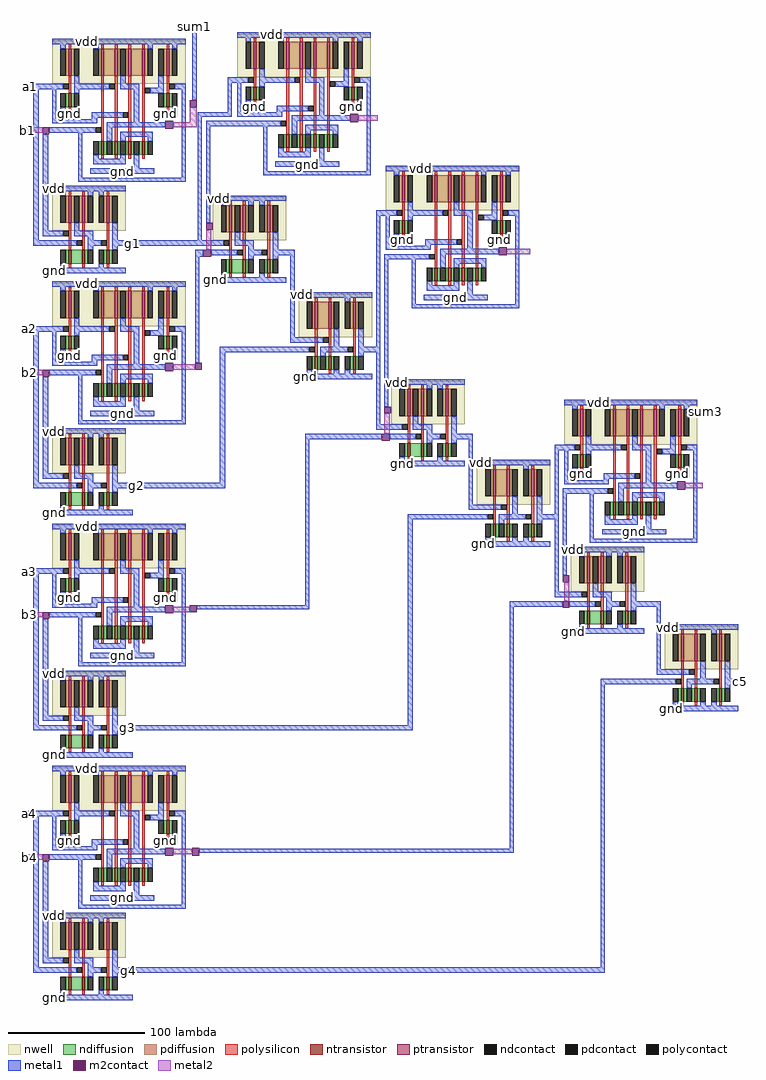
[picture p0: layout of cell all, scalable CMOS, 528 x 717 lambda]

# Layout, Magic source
magic
tech scmos
<< nwell >>
rect -341 292 -243 324
rect -205 297 -107 329
rect -341 184 -287 216
rect -223 177 -169 209
rect -96 199 2 231
rect -341 114 -243 146
rect -160 106 -106 138
rect -92 42 -38 74
rect -341 6 -287 38
rect 35 27 133 59
rect -29 -17 25 15
rect -341 -64 -243 -32
rect 40 -81 94 -49
rect 109 -138 163 -106
rect -341 -172 -287 -140
rect -341 -242 -243 -210
rect -341 -350 -287 -318
<< ntransistor >>
rect -329 275 -327 285
rect -257 275 -255 285
rect -193 280 -191 290
rect -121 280 -119 290
rect -305 240 -303 250
rect -295 240 -293 250
rect -285 240 -283 250
rect -275 240 -273 250
rect -169 245 -167 255
rect -159 245 -157 255
rect -149 245 -147 255
rect -139 245 -137 255
rect -329 160 -327 170
rect -319 160 -317 170
rect -301 160 -299 170
rect -84 182 -82 192
rect -211 153 -209 163
rect -201 153 -199 163
rect -183 153 -181 163
rect -12 182 -10 192
rect -60 147 -58 157
rect -50 147 -48 157
rect -40 147 -38 157
rect -30 147 -28 157
rect -329 97 -327 107
rect -257 97 -255 107
rect -148 82 -146 92
rect -138 82 -136 92
rect -120 82 -118 92
rect -305 62 -303 72
rect -295 62 -293 72
rect -285 62 -283 72
rect -275 62 -273 72
rect -80 18 -78 28
rect -70 18 -68 28
rect -52 18 -50 28
rect 47 10 49 20
rect -329 -18 -327 -8
rect -319 -18 -317 -8
rect -301 -18 -299 -8
rect 119 10 121 20
rect 71 -25 73 -15
rect 81 -25 83 -15
rect 91 -25 93 -15
rect 101 -25 103 -15
rect -17 -41 -15 -31
rect -7 -41 -5 -31
rect 11 -41 13 -31
rect -329 -81 -327 -71
rect -257 -81 -255 -71
rect 52 -105 54 -95
rect 62 -105 64 -95
rect 80 -105 82 -95
rect -305 -116 -303 -106
rect -295 -116 -293 -106
rect -285 -116 -283 -106
rect -275 -116 -273 -106
rect 121 -162 123 -152
rect 131 -162 133 -152
rect 149 -162 151 -152
rect -329 -196 -327 -186
rect -319 -196 -317 -186
rect -301 -196 -299 -186
rect -329 -259 -327 -249
rect -257 -259 -255 -249
rect -305 -294 -303 -284
rect -295 -294 -293 -284
rect -285 -294 -283 -284
rect -275 -294 -273 -284
rect -329 -374 -327 -364
rect -319 -374 -317 -364
rect -301 -374 -299 -364
<< ptransistor >>
rect -329 298 -327 318
rect -305 298 -303 318
rect -295 298 -293 318
rect -285 298 -283 318
rect -275 298 -273 318
rect -257 298 -255 318
rect -193 303 -191 323
rect -169 303 -167 323
rect -159 303 -157 323
rect -149 303 -147 323
rect -139 303 -137 323
rect -121 303 -119 323
rect -329 190 -327 210
rect -319 190 -317 210
rect -301 190 -299 210
rect -84 205 -82 225
rect -60 205 -58 225
rect -50 205 -48 225
rect -40 205 -38 225
rect -30 205 -28 225
rect -12 205 -10 225
rect -211 183 -209 203
rect -201 183 -199 203
rect -183 183 -181 203
rect -329 120 -327 140
rect -305 120 -303 140
rect -295 120 -293 140
rect -285 120 -283 140
rect -275 120 -273 140
rect -257 120 -255 140
rect -148 112 -146 132
rect -138 112 -136 132
rect -120 112 -118 132
rect -80 48 -78 68
rect -70 48 -68 68
rect -52 48 -50 68
rect -329 12 -327 32
rect -319 12 -317 32
rect -301 12 -299 32
rect 47 33 49 53
rect 71 33 73 53
rect 81 33 83 53
rect 91 33 93 53
rect 101 33 103 53
rect 119 33 121 53
rect -17 -11 -15 9
rect -7 -11 -5 9
rect 11 -11 13 9
rect -329 -58 -327 -38
rect -305 -58 -303 -38
rect -295 -58 -293 -38
rect -285 -58 -283 -38
rect -275 -58 -273 -38
rect -257 -58 -255 -38
rect 52 -75 54 -55
rect 62 -75 64 -55
rect 80 -75 82 -55
rect 121 -132 123 -112
rect 131 -132 133 -112
rect 149 -132 151 -112
rect -329 -166 -327 -146
rect -319 -166 -317 -146
rect -301 -166 -299 -146
rect -329 -236 -327 -216
rect -305 -236 -303 -216
rect -295 -236 -293 -216
rect -285 -236 -283 -216
rect -275 -236 -273 -216
rect -257 -236 -255 -216
rect -329 -344 -327 -324
rect -319 -344 -317 -324
rect -301 -344 -299 -324
<< ndiffusion >>
rect -331 275 -329 285
rect -327 275 -325 285
rect -259 275 -257 285
rect -255 275 -253 285
rect -195 280 -193 290
rect -191 280 -189 290
rect -123 280 -121 290
rect -119 280 -117 290
rect -307 240 -305 250
rect -303 240 -301 250
rect -297 240 -295 250
rect -293 240 -291 250
rect -287 240 -285 250
rect -283 240 -281 250
rect -277 240 -275 250
rect -273 240 -271 250
rect -171 245 -169 255
rect -167 245 -165 255
rect -161 245 -159 255
rect -157 245 -155 255
rect -151 245 -149 255
rect -147 245 -145 255
rect -141 245 -139 255
rect -137 245 -135 255
rect -331 160 -329 170
rect -327 160 -319 170
rect -317 160 -315 170
rect -303 160 -301 170
rect -299 160 -297 170
rect -86 182 -84 192
rect -82 182 -80 192
rect -213 153 -211 163
rect -209 153 -201 163
rect -199 153 -197 163
rect -185 153 -183 163
rect -181 153 -179 163
rect -14 182 -12 192
rect -10 182 -8 192
rect -62 147 -60 157
rect -58 147 -56 157
rect -52 147 -50 157
rect -48 147 -46 157
rect -42 147 -40 157
rect -38 147 -36 157
rect -32 147 -30 157
rect -28 147 -26 157
rect -331 97 -329 107
rect -327 97 -325 107
rect -259 97 -257 107
rect -255 97 -253 107
rect -150 82 -148 92
rect -146 82 -144 92
rect -140 82 -138 92
rect -136 82 -134 92
rect -122 82 -120 92
rect -118 82 -116 92
rect -307 62 -305 72
rect -303 62 -301 72
rect -297 62 -295 72
rect -293 62 -291 72
rect -287 62 -285 72
rect -283 62 -281 72
rect -277 62 -275 72
rect -273 62 -271 72
rect -82 18 -80 28
rect -78 18 -70 28
rect -68 18 -66 28
rect -54 18 -52 28
rect -50 18 -48 28
rect 45 10 47 20
rect 49 10 51 20
rect -331 -18 -329 -8
rect -327 -18 -319 -8
rect -317 -18 -315 -8
rect -303 -18 -301 -8
rect -299 -18 -297 -8
rect 117 10 119 20
rect 121 10 123 20
rect 69 -25 71 -15
rect 73 -25 75 -15
rect 79 -25 81 -15
rect 83 -25 85 -15
rect 89 -25 91 -15
rect 93 -25 95 -15
rect 99 -25 101 -15
rect 103 -25 105 -15
rect -19 -41 -17 -31
rect -15 -41 -13 -31
rect -9 -41 -7 -31
rect -5 -41 -3 -31
rect 9 -41 11 -31
rect 13 -41 15 -31
rect -331 -81 -329 -71
rect -327 -81 -325 -71
rect -259 -81 -257 -71
rect -255 -81 -253 -71
rect 50 -105 52 -95
rect 54 -105 62 -95
rect 64 -105 66 -95
rect 78 -105 80 -95
rect 82 -105 84 -95
rect -307 -116 -305 -106
rect -303 -116 -301 -106
rect -297 -116 -295 -106
rect -293 -116 -291 -106
rect -287 -116 -285 -106
rect -283 -116 -281 -106
rect -277 -116 -275 -106
rect -273 -116 -271 -106
rect 119 -162 121 -152
rect 123 -162 125 -152
rect 129 -162 131 -152
rect 133 -162 135 -152
rect 147 -162 149 -152
rect 151 -162 153 -152
rect -331 -196 -329 -186
rect -327 -196 -319 -186
rect -317 -196 -315 -186
rect -303 -196 -301 -186
rect -299 -196 -297 -186
rect -331 -259 -329 -249
rect -327 -259 -325 -249
rect -259 -259 -257 -249
rect -255 -259 -253 -249
rect -307 -294 -305 -284
rect -303 -294 -301 -284
rect -297 -294 -295 -284
rect -293 -294 -291 -284
rect -287 -294 -285 -284
rect -283 -294 -281 -284
rect -277 -294 -275 -284
rect -273 -294 -271 -284
rect -331 -374 -329 -364
rect -327 -374 -319 -364
rect -317 -374 -315 -364
rect -303 -374 -301 -364
rect -299 -374 -297 -364
<< pdiffusion >>
rect -331 298 -329 318
rect -327 298 -325 318
rect -307 298 -305 318
rect -303 298 -295 318
rect -293 298 -291 318
rect -287 298 -285 318
rect -283 298 -275 318
rect -273 298 -271 318
rect -259 298 -257 318
rect -255 298 -253 318
rect -195 303 -193 323
rect -191 303 -189 323
rect -171 303 -169 323
rect -167 303 -159 323
rect -157 303 -155 323
rect -151 303 -149 323
rect -147 303 -139 323
rect -137 303 -135 323
rect -123 303 -121 323
rect -119 303 -117 323
rect -331 190 -329 210
rect -327 190 -325 210
rect -321 190 -319 210
rect -317 190 -315 210
rect -303 190 -301 210
rect -299 190 -297 210
rect -86 205 -84 225
rect -82 205 -80 225
rect -62 205 -60 225
rect -58 205 -50 225
rect -48 205 -46 225
rect -42 205 -40 225
rect -38 205 -30 225
rect -28 205 -26 225
rect -14 205 -12 225
rect -10 205 -8 225
rect -213 183 -211 203
rect -209 183 -207 203
rect -203 183 -201 203
rect -199 183 -197 203
rect -185 183 -183 203
rect -181 183 -179 203
rect -331 120 -329 140
rect -327 120 -325 140
rect -307 120 -305 140
rect -303 120 -295 140
rect -293 120 -291 140
rect -287 120 -285 140
rect -283 120 -275 140
rect -273 120 -271 140
rect -259 120 -257 140
rect -255 120 -253 140
rect -150 112 -148 132
rect -146 112 -138 132
rect -136 112 -134 132
rect -122 112 -120 132
rect -118 112 -116 132
rect -82 48 -80 68
rect -78 48 -76 68
rect -72 48 -70 68
rect -68 48 -66 68
rect -54 48 -52 68
rect -50 48 -48 68
rect -331 12 -329 32
rect -327 12 -325 32
rect -321 12 -319 32
rect -317 12 -315 32
rect -303 12 -301 32
rect -299 12 -297 32
rect 45 33 47 53
rect 49 33 51 53
rect 69 33 71 53
rect 73 33 81 53
rect 83 33 85 53
rect 89 33 91 53
rect 93 33 101 53
rect 103 33 105 53
rect 117 33 119 53
rect 121 33 123 53
rect -19 -11 -17 9
rect -15 -11 -7 9
rect -5 -11 -3 9
rect 9 -11 11 9
rect 13 -11 15 9
rect -331 -58 -329 -38
rect -327 -58 -325 -38
rect -307 -58 -305 -38
rect -303 -58 -295 -38
rect -293 -58 -291 -38
rect -287 -58 -285 -38
rect -283 -58 -275 -38
rect -273 -58 -271 -38
rect -259 -58 -257 -38
rect -255 -58 -253 -38
rect 50 -75 52 -55
rect 54 -75 56 -55
rect 60 -75 62 -55
rect 64 -75 66 -55
rect 78 -75 80 -55
rect 82 -75 84 -55
rect 119 -132 121 -112
rect 123 -132 131 -112
rect 133 -132 135 -112
rect 147 -132 149 -112
rect 151 -132 153 -112
rect -331 -166 -329 -146
rect -327 -166 -325 -146
rect -321 -166 -319 -146
rect -317 -166 -315 -146
rect -303 -166 -301 -146
rect -299 -166 -297 -146
rect -331 -236 -329 -216
rect -327 -236 -325 -216
rect -307 -236 -305 -216
rect -303 -236 -295 -216
rect -293 -236 -291 -216
rect -287 -236 -285 -216
rect -283 -236 -275 -216
rect -273 -236 -271 -216
rect -259 -236 -257 -216
rect -255 -236 -253 -216
rect -331 -344 -329 -324
rect -327 -344 -325 -324
rect -321 -344 -319 -324
rect -317 -344 -315 -324
rect -303 -344 -301 -324
rect -299 -344 -297 -324
<< ndcontact >>
rect -335 275 -331 285
rect -325 275 -321 285
rect -263 275 -259 285
rect -253 275 -249 285
rect -199 280 -195 290
rect -189 280 -185 290
rect -127 280 -123 290
rect -117 280 -113 290
rect -311 240 -307 250
rect -301 240 -297 250
rect -291 240 -287 250
rect -281 240 -277 250
rect -271 240 -267 250
rect -175 245 -171 255
rect -165 245 -161 255
rect -155 245 -151 255
rect -145 245 -141 255
rect -135 245 -131 255
rect -335 160 -331 170
rect -315 160 -311 170
rect -307 160 -303 170
rect -297 160 -293 170
rect -90 182 -86 192
rect -80 182 -76 192
rect -217 153 -213 163
rect -197 153 -193 163
rect -189 153 -185 163
rect -179 153 -175 163
rect -18 182 -14 192
rect -8 182 -4 192
rect -66 147 -62 157
rect -56 147 -52 157
rect -46 147 -42 157
rect -36 147 -32 157
rect -26 147 -22 157
rect -335 97 -331 107
rect -325 97 -321 107
rect -263 97 -259 107
rect -253 97 -249 107
rect -154 82 -150 92
rect -144 82 -140 92
rect -134 82 -130 92
rect -126 82 -122 92
rect -116 82 -112 92
rect -311 62 -307 72
rect -301 62 -297 72
rect -291 62 -287 72
rect -281 62 -277 72
rect -271 62 -267 72
rect -86 18 -82 28
rect -66 18 -62 28
rect -58 18 -54 28
rect -48 18 -44 28
rect 41 10 45 20
rect 51 10 55 20
rect -335 -18 -331 -8
rect -315 -18 -311 -8
rect -307 -18 -303 -8
rect -297 -18 -293 -8
rect 113 10 117 20
rect 123 10 127 20
rect 65 -25 69 -15
rect 75 -25 79 -15
rect 85 -25 89 -15
rect 95 -25 99 -15
rect 105 -25 109 -15
rect -23 -41 -19 -31
rect -13 -41 -9 -31
rect -3 -41 1 -31
rect 5 -41 9 -31
rect 15 -41 19 -31
rect -335 -81 -331 -71
rect -325 -81 -321 -71
rect -263 -81 -259 -71
rect -253 -81 -249 -71
rect 46 -105 50 -95
rect 66 -105 70 -95
rect 74 -105 78 -95
rect 84 -105 88 -95
rect -311 -116 -307 -106
rect -301 -116 -297 -106
rect -291 -116 -287 -106
rect -281 -116 -277 -106
rect -271 -116 -267 -106
rect 115 -162 119 -152
rect 125 -162 129 -152
rect 135 -162 139 -152
rect 143 -162 147 -152
rect 153 -162 157 -152
rect -335 -196 -331 -186
rect -315 -196 -311 -186
rect -307 -196 -303 -186
rect -297 -196 -293 -186
rect -335 -259 -331 -249
rect -325 -259 -321 -249
rect -263 -259 -259 -249
rect -253 -259 -249 -249
rect -311 -294 -307 -284
rect -301 -294 -297 -284
rect -291 -294 -287 -284
rect -281 -294 -277 -284
rect -271 -294 -267 -284
rect -335 -374 -331 -364
rect -315 -374 -311 -364
rect -307 -374 -303 -364
rect -297 -374 -293 -364
<< pdcontact >>
rect -335 298 -331 318
rect -325 298 -321 318
rect -311 298 -307 318
rect -291 298 -287 318
rect -271 298 -267 318
rect -263 298 -259 318
rect -253 298 -249 318
rect -199 303 -195 323
rect -189 303 -185 323
rect -175 303 -171 323
rect -155 303 -151 323
rect -135 303 -131 323
rect -127 303 -123 323
rect -117 303 -113 323
rect -335 190 -331 210
rect -325 190 -321 210
rect -315 190 -311 210
rect -307 190 -303 210
rect -297 190 -293 210
rect -90 205 -86 225
rect -80 205 -76 225
rect -66 205 -62 225
rect -46 205 -42 225
rect -26 205 -22 225
rect -18 205 -14 225
rect -8 205 -4 225
rect -217 183 -213 203
rect -207 183 -203 203
rect -197 183 -193 203
rect -189 183 -185 203
rect -179 183 -175 203
rect -335 120 -331 140
rect -325 120 -321 140
rect -311 120 -307 140
rect -291 120 -287 140
rect -271 120 -267 140
rect -263 120 -259 140
rect -253 120 -249 140
rect -154 112 -150 132
rect -134 112 -130 132
rect -126 112 -122 132
rect -116 112 -112 132
rect -86 48 -82 68
rect -76 48 -72 68
rect -66 48 -62 68
rect -58 48 -54 68
rect -48 48 -44 68
rect -335 12 -331 32
rect -325 12 -321 32
rect -315 12 -311 32
rect -307 12 -303 32
rect -297 12 -293 32
rect 41 33 45 53
rect 51 33 55 53
rect 65 33 69 53
rect 85 33 89 53
rect 105 33 109 53
rect 113 33 117 53
rect 123 33 127 53
rect -23 -11 -19 9
rect -3 -11 1 9
rect 5 -11 9 9
rect 15 -11 19 9
rect -335 -58 -331 -38
rect -325 -58 -321 -38
rect -311 -58 -307 -38
rect -291 -58 -287 -38
rect -271 -58 -267 -38
rect -263 -58 -259 -38
rect -253 -58 -249 -38
rect 46 -75 50 -55
rect 56 -75 60 -55
rect 66 -75 70 -55
rect 74 -75 78 -55
rect 84 -75 88 -55
rect 115 -132 119 -112
rect 135 -132 139 -112
rect 143 -132 147 -112
rect 153 -132 157 -112
rect -335 -166 -331 -146
rect -325 -166 -321 -146
rect -315 -166 -311 -146
rect -307 -166 -303 -146
rect -297 -166 -293 -146
rect -335 -236 -331 -216
rect -325 -236 -321 -216
rect -311 -236 -307 -216
rect -291 -236 -287 -216
rect -271 -236 -267 -216
rect -263 -236 -259 -216
rect -253 -236 -249 -216
rect -335 -344 -331 -324
rect -325 -344 -321 -324
rect -315 -344 -311 -324
rect -307 -344 -303 -324
rect -297 -344 -293 -324
<< polysilicon >>
rect -193 323 -191 326
rect -169 323 -167 326
rect -159 323 -157 326
rect -149 323 -147 326
rect -139 323 -137 326
rect -121 323 -119 326
rect -329 318 -327 321
rect -305 318 -303 321
rect -295 318 -293 321
rect -285 318 -283 321
rect -275 318 -273 321
rect -257 318 -255 321
rect -329 285 -327 298
rect -329 272 -327 275
rect -305 250 -303 298
rect -295 250 -293 298
rect -285 250 -283 298
rect -275 250 -273 298
rect -257 285 -255 298
rect -193 290 -191 303
rect -193 277 -191 280
rect -257 272 -255 275
rect -169 255 -167 303
rect -159 255 -157 303
rect -149 255 -147 303
rect -139 255 -137 303
rect -121 290 -119 303
rect -121 277 -119 280
rect -169 242 -167 245
rect -159 242 -157 245
rect -149 242 -147 245
rect -139 242 -137 245
rect -305 237 -303 240
rect -295 237 -293 240
rect -285 237 -283 240
rect -275 237 -273 240
rect -84 225 -82 228
rect -60 225 -58 228
rect -50 225 -48 228
rect -40 225 -38 228
rect -30 225 -28 228
rect -12 225 -10 228
rect -329 210 -327 213
rect -319 210 -317 213
rect -301 210 -299 213
rect -211 203 -209 206
rect -201 203 -199 206
rect -183 203 -181 206
rect -329 170 -327 190
rect -319 170 -317 190
rect -301 170 -299 190
rect -84 192 -82 205
rect -211 163 -209 183
rect -201 163 -199 183
rect -183 163 -181 183
rect -84 179 -82 182
rect -329 157 -327 160
rect -319 157 -317 160
rect -301 157 -299 160
rect -60 157 -58 205
rect -50 157 -48 205
rect -40 157 -38 205
rect -30 157 -28 205
rect -12 192 -10 205
rect -12 179 -10 182
rect -211 150 -209 153
rect -201 150 -199 153
rect -183 150 -181 153
rect -60 144 -58 147
rect -50 144 -48 147
rect -40 144 -38 147
rect -30 144 -28 147
rect -329 140 -327 143
rect -305 140 -303 143
rect -295 140 -293 143
rect -285 140 -283 143
rect -275 140 -273 143
rect -257 140 -255 143
rect -148 132 -146 135
rect -138 132 -136 135
rect -120 132 -118 135
rect -329 107 -327 120
rect -329 94 -327 97
rect -305 72 -303 120
rect -295 72 -293 120
rect -285 72 -283 120
rect -275 72 -273 120
rect -257 107 -255 120
rect -257 94 -255 97
rect -148 92 -146 112
rect -138 92 -136 112
rect -120 92 -118 112
rect -148 79 -146 82
rect -138 79 -136 82
rect -120 79 -118 82
rect -80 68 -78 71
rect -70 68 -68 71
rect -52 68 -50 71
rect -305 59 -303 62
rect -295 59 -293 62
rect -285 59 -283 62
rect -275 59 -273 62
rect 47 53 49 56
rect 71 53 73 56
rect 81 53 83 56
rect 91 53 93 56
rect 101 53 103 56
rect 119 53 121 56
rect -329 32 -327 35
rect -319 32 -317 35
rect -301 32 -299 35
rect -80 28 -78 48
rect -70 28 -68 48
rect -52 28 -50 48
rect 47 20 49 33
rect -80 15 -78 18
rect -70 15 -68 18
rect -52 15 -50 18
rect -329 -8 -327 12
rect -319 -8 -317 12
rect -301 -8 -299 12
rect -17 9 -15 12
rect -7 9 -5 12
rect 11 9 13 12
rect 47 7 49 10
rect -329 -21 -327 -18
rect -319 -21 -317 -18
rect -301 -21 -299 -18
rect -17 -31 -15 -11
rect -7 -31 -5 -11
rect 11 -31 13 -11
rect 71 -15 73 33
rect 81 -15 83 33
rect 91 -15 93 33
rect 101 -15 103 33
rect 119 20 121 33
rect 119 7 121 10
rect 71 -28 73 -25
rect 81 -28 83 -25
rect 91 -28 93 -25
rect 101 -28 103 -25
rect -329 -38 -327 -35
rect -305 -38 -303 -35
rect -295 -38 -293 -35
rect -285 -38 -283 -35
rect -275 -38 -273 -35
rect -257 -38 -255 -35
rect -17 -44 -15 -41
rect -7 -44 -5 -41
rect 11 -44 13 -41
rect 52 -55 54 -52
rect 62 -55 64 -52
rect 80 -55 82 -52
rect -329 -71 -327 -58
rect -329 -84 -327 -81
rect -305 -106 -303 -58
rect -295 -106 -293 -58
rect -285 -106 -283 -58
rect -275 -106 -273 -58
rect -257 -71 -255 -58
rect -257 -84 -255 -81
rect 52 -95 54 -75
rect 62 -95 64 -75
rect 80 -95 82 -75
rect 52 -108 54 -105
rect 62 -108 64 -105
rect 80 -108 82 -105
rect 121 -112 123 -109
rect 131 -112 133 -109
rect 149 -112 151 -109
rect -305 -119 -303 -116
rect -295 -119 -293 -116
rect -285 -119 -283 -116
rect -275 -119 -273 -116
rect -329 -146 -327 -143
rect -319 -146 -317 -143
rect -301 -146 -299 -143
rect 121 -152 123 -132
rect 131 -152 133 -132
rect 149 -152 151 -132
rect 121 -165 123 -162
rect 131 -165 133 -162
rect 149 -165 151 -162
rect -329 -186 -327 -166
rect -319 -186 -317 -166
rect -301 -186 -299 -166
rect -329 -199 -327 -196
rect -319 -199 -317 -196
rect -301 -199 -299 -196
rect -329 -216 -327 -213
rect -305 -216 -303 -213
rect -295 -216 -293 -213
rect -285 -216 -283 -213
rect -275 -216 -273 -213
rect -257 -216 -255 -213
rect -329 -249 -327 -236
rect -329 -262 -327 -259
rect -305 -284 -303 -236
rect -295 -284 -293 -236
rect -285 -284 -283 -236
rect -275 -284 -273 -236
rect -257 -249 -255 -236
rect -257 -262 -255 -259
rect -305 -297 -303 -294
rect -295 -297 -293 -294
rect -285 -297 -283 -294
rect -275 -297 -273 -294
rect -329 -324 -327 -321
rect -319 -324 -317 -321
rect -301 -324 -299 -321
rect -329 -364 -327 -344
rect -319 -364 -317 -344
rect -301 -364 -299 -344
rect -329 -377 -327 -374
rect -319 -377 -317 -374
rect -301 -377 -299 -374
<< polycontact >>
rect -333 288 -329 292
rect -309 256 -305 260
rect -299 288 -295 292
rect -289 267 -285 271
rect -273 285 -269 289
rect -197 293 -193 297
rect -255 288 -251 292
rect -173 261 -169 265
rect -163 293 -159 297
rect -153 272 -149 276
rect -137 290 -133 294
rect -119 293 -115 297
rect -333 180 -329 184
rect -323 173 -319 177
rect -305 173 -301 177
rect -88 195 -84 199
rect -215 173 -211 177
rect -205 166 -201 170
rect -187 166 -183 170
rect -64 163 -60 167
rect -54 195 -50 199
rect -44 174 -40 178
rect -28 192 -24 196
rect -10 195 -6 199
rect -333 110 -329 114
rect -309 78 -305 82
rect -299 110 -295 114
rect -289 89 -285 93
rect -273 107 -269 111
rect -255 110 -251 114
rect -152 95 -148 99
rect -142 102 -138 106
rect -124 95 -120 99
rect -84 38 -80 42
rect -74 31 -70 35
rect -56 31 -52 35
rect 43 23 47 27
rect -333 2 -329 6
rect -323 -5 -319 -1
rect -305 -5 -301 -1
rect 67 -9 71 -5
rect -21 -28 -17 -24
rect -11 -21 -7 -17
rect 7 -28 11 -24
rect 77 23 81 27
rect 87 2 91 6
rect 103 20 107 24
rect 121 23 125 27
rect -333 -68 -329 -64
rect -309 -100 -305 -96
rect -299 -68 -295 -64
rect -289 -89 -285 -85
rect -273 -71 -269 -67
rect -255 -68 -251 -64
rect 48 -85 52 -81
rect 58 -92 62 -88
rect 76 -92 80 -88
rect 117 -149 121 -145
rect 127 -142 131 -138
rect 145 -149 149 -145
rect -333 -176 -329 -172
rect -323 -183 -319 -179
rect -305 -183 -301 -179
rect -333 -246 -329 -242
rect -309 -278 -305 -274
rect -299 -246 -295 -242
rect -289 -267 -285 -263
rect -273 -249 -269 -245
rect -255 -246 -251 -242
rect -333 -354 -329 -350
rect -323 -361 -319 -357
rect -305 -361 -301 -357
<< metal1 >>
rect -341 321 -243 325
rect -335 318 -331 321
rect -311 318 -307 321
rect -271 318 -267 321
rect -253 318 -249 321
rect -325 292 -321 298
rect -291 292 -287 298
rect -359 288 -333 292
rect -325 288 -299 292
rect -291 288 -277 292
rect -263 289 -259 298
rect -355 177 -351 288
rect -341 266 -338 288
rect -325 285 -321 288
rect -335 272 -331 275
rect -335 269 -321 272
rect -312 267 -289 271
rect -312 266 -308 267
rect -341 263 -308 266
rect -281 264 -277 288
rect -269 285 -259 289
rect -251 288 -243 292
rect -253 272 -249 275
rect -262 268 -249 272
rect -301 260 -258 264
rect -343 256 -309 260
rect -348 184 -344 255
rect -322 223 -319 256
rect -301 250 -297 260
rect -291 253 -267 257
rect -291 250 -287 253
rect -271 250 -267 253
rect -311 237 -307 240
rect -291 237 -287 240
rect -311 233 -287 237
rect -281 230 -277 240
rect -313 226 -266 230
rect -246 223 -243 288
rect -238 280 -235 336
rect -205 326 -107 330
rect -199 323 -195 326
rect -175 323 -171 326
rect -135 323 -131 326
rect -117 323 -113 326
rect -189 297 -185 303
rect -155 297 -151 303
rect -212 293 -197 297
rect -189 293 -163 297
rect -155 293 -141 297
rect -127 294 -123 303
rect -212 271 -209 293
rect -322 220 -243 223
rect -234 268 -209 271
rect -205 271 -202 293
rect -189 290 -185 293
rect -199 277 -195 280
rect -199 274 -185 277
rect -176 272 -153 276
rect -176 271 -172 272
rect -205 268 -172 271
rect -145 269 -141 293
rect -133 290 -123 294
rect -115 293 -107 297
rect -117 277 -113 280
rect -126 273 -113 277
rect -341 213 -287 217
rect -335 210 -331 213
rect -315 210 -311 213
rect -307 210 -303 213
rect -325 184 -321 190
rect -348 180 -333 184
rect -325 180 -311 184
rect -315 177 -311 180
rect -297 177 -293 190
rect -234 177 -231 268
rect -165 265 -122 269
rect -228 261 -173 265
rect -228 190 -225 261
rect -186 228 -183 261
rect -165 255 -161 265
rect -155 258 -131 262
rect -155 255 -151 258
rect -135 255 -131 258
rect -175 242 -171 245
rect -155 242 -151 245
rect -175 238 -151 242
rect -145 235 -141 245
rect -177 231 -130 235
rect -110 228 -107 293
rect -96 228 2 232
rect -186 225 -107 228
rect -90 225 -86 228
rect -66 225 -62 228
rect -26 225 -22 228
rect -8 225 -4 228
rect -222 206 -169 210
rect -217 203 -213 206
rect -197 203 -193 206
rect -189 203 -185 206
rect -80 199 -76 205
rect -46 199 -42 205
rect -207 177 -203 183
rect -355 173 -323 177
rect -315 173 -305 177
rect -297 173 -215 177
rect -207 173 -193 177
rect -315 170 -311 173
rect -297 170 -293 173
rect -197 170 -193 173
rect -179 170 -175 183
rect -103 195 -88 199
rect -80 195 -54 199
rect -46 195 -32 199
rect -18 196 -14 205
rect -236 165 -230 170
rect -224 166 -205 170
rect -197 166 -187 170
rect -179 166 -163 170
rect -335 157 -331 160
rect -307 157 -303 160
rect -341 153 -287 157
rect -341 143 -243 147
rect -335 140 -331 143
rect -311 140 -307 143
rect -271 140 -267 143
rect -253 140 -249 143
rect -325 114 -321 120
rect -291 114 -287 120
rect -359 110 -333 114
rect -325 110 -299 114
rect -291 110 -277 114
rect -263 111 -259 120
rect -355 -1 -351 110
rect -341 88 -338 110
rect -325 107 -321 110
rect -335 94 -331 97
rect -335 91 -321 94
rect -312 89 -289 93
rect -312 88 -308 89
rect -341 85 -308 88
rect -281 86 -277 110
rect -269 107 -259 111
rect -251 110 -243 114
rect -253 94 -249 97
rect -262 90 -249 94
rect -301 82 -258 86
rect -343 78 -309 82
rect -348 6 -344 77
rect -322 45 -319 78
rect -301 72 -297 82
rect -291 75 -267 79
rect -291 72 -287 75
rect -271 72 -267 75
rect -311 59 -307 62
rect -291 59 -287 62
rect -311 55 -287 59
rect -281 52 -277 62
rect -313 48 -266 52
rect -246 45 -243 110
rect -236 87 -233 165
rect -197 163 -193 166
rect -179 163 -175 166
rect -217 150 -213 153
rect -189 150 -185 153
rect -223 146 -169 150
rect -166 106 -163 166
rect -160 135 -106 139
rect -154 132 -150 135
rect -126 132 -122 135
rect -166 102 -142 106
rect -134 99 -130 112
rect -116 99 -112 112
rect -103 99 -100 195
rect -96 173 -93 195
rect -80 192 -76 195
rect -90 179 -86 182
rect -90 176 -76 179
rect -67 174 -44 178
rect -67 173 -63 174
rect -96 170 -63 173
rect -36 171 -32 195
rect -24 192 -14 196
rect -6 195 2 199
rect -8 179 -4 182
rect -17 175 -4 179
rect -56 167 -13 171
rect -218 95 -152 99
rect -144 95 -124 99
rect -116 95 -100 99
rect -322 42 -243 45
rect -341 35 -287 39
rect -335 32 -331 35
rect -315 32 -311 35
rect -307 32 -303 35
rect -325 6 -321 12
rect -348 2 -333 6
rect -325 2 -311 6
rect -315 -1 -311 2
rect -297 -1 -293 12
rect -218 -1 -214 95
rect -144 92 -140 95
rect -116 92 -112 95
rect -154 79 -150 82
rect -134 79 -130 82
rect -126 79 -122 82
rect -157 75 -106 79
rect -103 42 -100 95
rect -97 163 -64 167
rect -97 55 -94 163
rect -77 130 -74 163
rect -56 157 -52 167
rect -46 160 -22 164
rect -46 157 -42 160
rect -26 157 -22 160
rect -66 144 -62 147
rect -46 144 -42 147
rect -66 140 -42 144
rect -36 137 -32 147
rect -68 133 -21 137
rect -1 130 2 195
rect -77 127 2 130
rect -91 71 -38 75
rect -86 68 -82 71
rect -66 68 -62 71
rect -58 68 -54 71
rect 35 56 133 60
rect -76 42 -72 48
rect -103 38 -84 42
rect -76 38 -62 42
rect -66 35 -62 38
rect -48 35 -44 48
rect 41 53 45 56
rect 65 53 69 56
rect 105 53 109 56
rect 123 53 127 56
rect -355 -5 -323 -1
rect -315 -5 -305 -1
rect -297 -5 -214 -1
rect -155 31 -99 35
rect -315 -8 -311 -5
rect -297 -8 -293 -5
rect -335 -21 -331 -18
rect -307 -21 -303 -18
rect -341 -25 -282 -21
rect -341 -35 -243 -31
rect -335 -38 -331 -35
rect -311 -38 -307 -35
rect -271 -38 -267 -35
rect -253 -38 -249 -35
rect -325 -64 -321 -58
rect -291 -64 -287 -58
rect -359 -68 -333 -64
rect -325 -68 -299 -64
rect -291 -68 -277 -64
rect -263 -67 -259 -58
rect -355 -179 -351 -68
rect -341 -90 -338 -68
rect -325 -71 -321 -68
rect -335 -84 -331 -81
rect -335 -87 -321 -84
rect -312 -89 -289 -85
rect -312 -90 -308 -89
rect -341 -93 -308 -90
rect -281 -92 -277 -68
rect -269 -71 -259 -67
rect -251 -68 -243 -64
rect -253 -84 -249 -81
rect -262 -88 -249 -84
rect -301 -96 -258 -92
rect -343 -100 -309 -96
rect -348 -172 -344 -101
rect -322 -133 -319 -100
rect -301 -106 -297 -96
rect -291 -103 -267 -99
rect -291 -106 -287 -103
rect -271 -106 -267 -103
rect -311 -119 -307 -116
rect -291 -119 -287 -116
rect -311 -123 -287 -119
rect -281 -126 -277 -116
rect -313 -130 -266 -126
rect -246 -133 -243 -68
rect -155 -91 -152 31
rect -93 31 -74 35
rect -66 31 -56 35
rect -48 31 -32 35
rect -66 28 -62 31
rect -48 28 -44 31
rect -86 15 -82 18
rect -58 15 -54 18
rect -92 11 -38 15
rect -35 -17 -32 31
rect 51 27 55 33
rect 85 27 89 33
rect 28 23 43 27
rect 51 23 77 27
rect 85 23 99 27
rect 113 24 117 33
rect -29 12 25 16
rect -23 9 -19 12
rect 5 9 9 12
rect -35 -21 -11 -17
rect -3 -24 1 -11
rect 15 -24 19 -11
rect 28 -24 31 23
rect 35 1 38 23
rect 51 20 55 23
rect 41 7 45 10
rect 41 4 55 7
rect 64 2 87 6
rect 64 1 68 2
rect 35 -2 68 1
rect 95 -1 99 23
rect 107 20 117 24
rect 125 23 133 27
rect 123 7 127 10
rect 114 3 127 7
rect 75 -5 118 -1
rect -235 -94 -152 -91
rect -80 -28 -21 -24
rect -13 -28 7 -24
rect 15 -28 31 -24
rect -322 -136 -243 -133
rect -341 -143 -287 -139
rect -335 -146 -331 -143
rect -315 -146 -311 -143
rect -307 -146 -303 -143
rect -325 -172 -321 -166
rect -348 -176 -333 -172
rect -325 -176 -311 -172
rect -315 -179 -311 -176
rect -297 -179 -293 -166
rect -80 -179 -76 -28
rect -13 -31 -9 -28
rect 15 -31 19 -28
rect -23 -44 -19 -41
rect -3 -44 1 -41
rect 5 -44 9 -41
rect -29 -48 25 -44
rect 28 -81 31 -28
rect 34 -9 67 -5
rect 34 -69 37 -9
rect 54 -42 57 -9
rect 75 -15 79 -5
rect 85 -12 109 -8
rect 85 -15 89 -12
rect 105 -15 109 -12
rect 65 -28 69 -25
rect 85 -28 89 -25
rect 65 -32 89 -28
rect 95 -35 99 -25
rect 63 -39 110 -35
rect 130 -42 133 23
rect 54 -45 133 -42
rect 40 -52 94 -48
rect 46 -55 50 -52
rect 66 -55 70 -52
rect 74 -55 78 -52
rect 56 -81 60 -75
rect 28 -85 48 -81
rect 56 -85 70 -81
rect 66 -88 70 -85
rect 84 -88 88 -75
rect -355 -183 -323 -179
rect -315 -183 -305 -179
rect -297 -183 -76 -179
rect -5 -92 34 -88
rect -315 -186 -311 -183
rect -297 -186 -293 -183
rect -335 -199 -331 -196
rect -307 -199 -303 -196
rect -341 -203 -282 -199
rect -341 -213 -243 -209
rect -335 -216 -331 -213
rect -311 -216 -307 -213
rect -271 -216 -267 -213
rect -253 -216 -249 -213
rect -325 -242 -321 -236
rect -291 -242 -287 -236
rect -359 -246 -333 -242
rect -325 -246 -299 -242
rect -291 -246 -277 -242
rect -263 -245 -259 -236
rect -355 -357 -351 -246
rect -341 -268 -338 -246
rect -325 -249 -321 -246
rect -335 -262 -331 -259
rect -335 -265 -321 -262
rect -312 -267 -289 -263
rect -312 -268 -308 -267
rect -341 -271 -308 -268
rect -281 -270 -277 -246
rect -269 -249 -259 -245
rect -251 -246 -243 -242
rect -253 -262 -249 -259
rect -262 -266 -249 -262
rect -301 -274 -258 -270
rect -343 -278 -309 -274
rect -348 -350 -344 -279
rect -322 -311 -319 -278
rect -301 -284 -297 -274
rect -291 -281 -267 -277
rect -291 -284 -287 -281
rect -271 -284 -267 -281
rect -311 -297 -307 -294
rect -291 -297 -287 -294
rect -311 -301 -287 -297
rect -281 -304 -277 -294
rect -313 -308 -266 -304
rect -246 -311 -243 -246
rect -5 -270 -2 -92
rect 39 -92 58 -88
rect 66 -92 76 -88
rect 84 -92 106 -88
rect 66 -95 70 -92
rect 84 -95 88 -92
rect 46 -108 50 -105
rect 74 -108 78 -105
rect 40 -112 94 -108
rect 103 -138 106 -92
rect 109 -109 163 -105
rect 115 -112 119 -109
rect 143 -112 147 -109
rect 103 -142 127 -138
rect 135 -145 139 -132
rect 153 -145 157 -132
rect -233 -273 -2 -270
rect 62 -149 117 -145
rect 125 -149 145 -145
rect 153 -149 166 -145
rect -322 -314 -243 -311
rect -341 -321 -287 -317
rect -335 -324 -331 -321
rect -315 -324 -311 -321
rect -307 -324 -303 -321
rect -325 -350 -321 -344
rect -348 -354 -333 -350
rect -325 -354 -311 -350
rect -315 -357 -311 -354
rect -297 -357 -293 -344
rect 62 -357 65 -149
rect 125 -152 129 -149
rect 153 -152 157 -149
rect 115 -165 119 -162
rect 135 -165 139 -162
rect 143 -165 147 -162
rect 109 -169 163 -165
rect -355 -361 -323 -357
rect -315 -361 -305 -357
rect -297 -361 65 -357
rect -315 -364 -311 -361
rect -297 -364 -293 -361
rect -335 -377 -331 -374
rect -307 -377 -303 -374
rect -341 -381 -282 -377
<< m2contact >>
rect -348 255 -343 260
rect -258 259 -252 265
rect -240 275 -235 280
rect -122 264 -116 270
rect -228 185 -223 190
rect -230 165 -224 170
rect -348 77 -343 82
rect -258 81 -252 87
rect -236 82 -231 87
rect -13 166 -7 172
rect -97 50 -92 55
rect -348 -101 -343 -96
rect -258 -97 -252 -91
rect -99 30 -93 35
rect -240 -96 -235 -91
rect 118 -6 124 0
rect 34 -74 39 -69
rect -348 -279 -343 -274
rect -258 -275 -252 -269
rect -238 -275 -233 -269
rect 34 -93 39 -88
<< metal2 >>
rect -362 256 -348 260
rect -240 264 -235 275
rect -116 265 -102 269
rect -252 260 -235 264
rect -228 170 -224 185
rect -7 167 10 171
rect -359 78 -348 82
rect -252 82 -236 86
rect -97 35 -93 50
rect 134 49 142 53
rect 124 -5 137 -1
rect 35 -88 39 -74
rect -359 -100 -348 -96
rect -252 -96 -240 -92
rect -359 -278 -348 -274
rect -252 -274 -238 -270
<< labels >>
rlabel metal1 -292 -308 -287 -304 1 gnd
rlabel metal1 -292 -130 -287 -126 1 gnd
rlabel metal1 -292 48 -287 52 1 gnd
rlabel metal1 -292 226 -287 230 1 gnd
rlabel metal1 -330 -265 -327 -262 1 gnd
rlabel metal1 -330 -87 -327 -84 1 gnd
rlabel metal1 -330 91 -327 94 1 gnd
rlabel metal1 -259 -265 -256 -262 1 gnd
rlabel metal1 -259 -87 -256 -84 1 gnd
rlabel metal1 -259 91 -256 94 1 gnd
rlabel metal1 -259 269 -256 272 1 gnd
rlabel metal1 -317 -213 -313 -209 4 vdd
rlabel metal1 -317 -35 -313 -31 4 vdd
rlabel metal1 -317 143 -313 147 4 vdd
rlabel metal1 -317 321 -313 325 4 vdd
rlabel metal1 -341 -321 -337 -317 4 vdd
rlabel metal1 -341 -143 -337 -139 4 vdd
rlabel metal1 -341 35 -337 39 4 vdd
rlabel metal1 -341 -381 -337 -377 2 gnd
rlabel metal1 -341 -203 -337 -199 2 gnd
rlabel metal1 -341 -25 -337 -21 2 gnd
rlabel metal1 -341 213 -337 217 4 vdd
rlabel metal1 -341 153 -337 157 2 gnd
rlabel metal2 -251 82 -247 86 1 p2
rlabel metal1 -284 173 -280 177 1 g1
rlabel metal1 -359 288 -355 292 3 a1
rlabel metal1 -282 -5 -276 -1 1 g2
rlabel metal1 -157 75 -153 79 2 gnd
rlabel metal1 -159 135 -155 139 4 vdd
rlabel metal1 -156 231 -151 235 1 gnd
rlabel metal1 -194 274 -191 277 1 gnd
rlabel metal1 -123 274 -120 277 1 gnd
rlabel metal1 -181 326 -177 330 4 vdd
rlabel metal2 -105 265 -102 269 1 sum2
rlabel metal1 -223 146 -219 150 2 gnd
rlabel metal1 -222 206 -214 210 1 vdd
rlabel metal1 -86 11 -82 15 2 gnd
rlabel metal1 -91 71 -83 75 1 vdd
rlabel metal2 -252 -96 -248 -92 1 p3
rlabel metal1 -288 -183 -284 -179 1 g3
rlabel metal2 -250 -274 -246 -270 1 p4
rlabel metal1 -287 -361 -283 -357 1 g4
rlabel metal1 -47 133 -42 137 1 gnd
rlabel metal1 -85 176 -82 179 1 gnd
rlabel metal1 -14 176 -11 179 1 gnd
rlabel metal1 -72 228 -68 232 4 vdd
rlabel metal1 -28 12 -24 16 4 vdd
rlabel metal1 -26 -48 -22 -44 2 gnd
rlabel metal2 137 49 141 53 1 sum3
rlabel metal1 59 56 63 60 4 vdd
rlabel metal1 117 4 120 7 1 gnd
rlabel metal1 46 4 49 7 1 gnd
rlabel metal1 84 -39 89 -35 1 gnd
rlabel metal1 40 -112 44 -108 2 gnd
rlabel metal1 40 -52 44 -48 4 vdd
rlabel metal2 3 167 10 171 1 sum3
rlabel metal2 133 -5 137 -1 1 sum4
rlabel metal1 110 -109 114 -105 4 vdd
rlabel metal1 112 -169 116 -165 2 gnd
rlabel metal1 163 -149 166 -145 7 c5
rlabel metal1 -359 -246 -356 -242 3 a4
rlabel metal2 -359 -100 -356 -96 3 b3
rlabel metal1 -359 -68 -356 -64 3 a3
rlabel metal2 -359 78 -356 82 3 b2
rlabel metal1 -359 110 -356 114 3 a2
rlabel metal2 -359 -278 -356 -274 3 b4
rlabel metal1 -238 332 -235 336 5 sum1
rlabel metal1 -330 269 -326 272 1 gnd
rlabel metal2 -362 256 -356 260 3 b1
<< end >>
